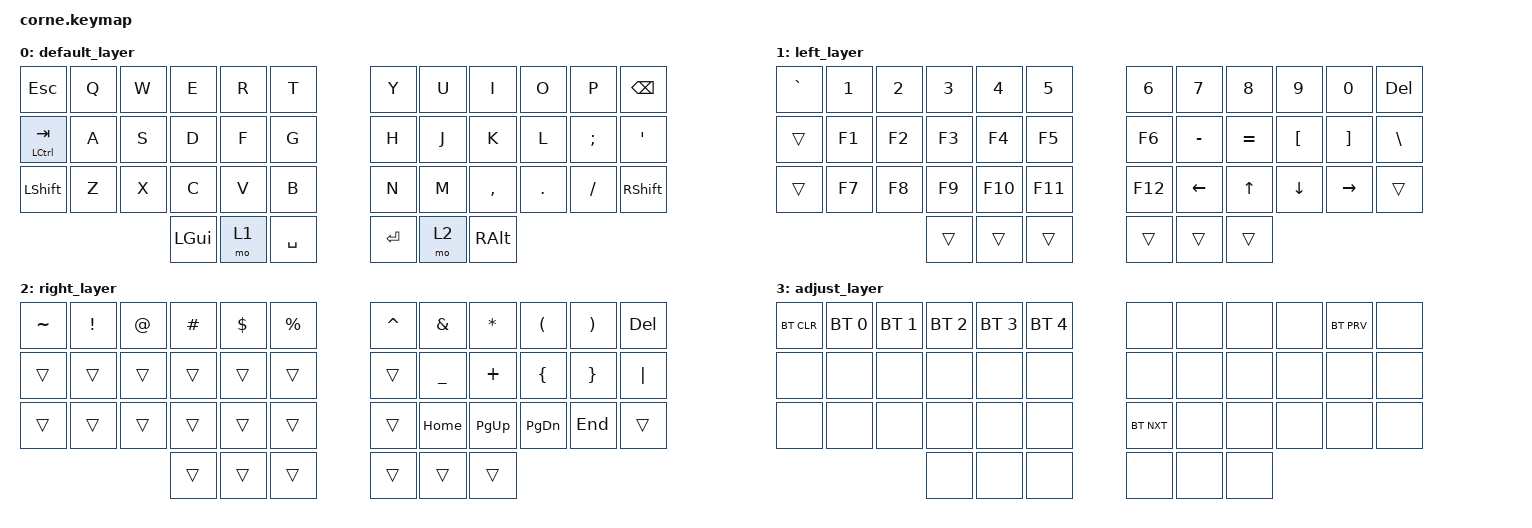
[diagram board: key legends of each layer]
#include <behaviors.dtsi>
#include <dt-bindings/zmk/keys.h>
#include <dt-bindings/zmk/bt.h>

/ {
    conditional_layers {
        compatible = "zmk,conditional-layers";
        tri_layer {
            if-layers = <1 2>;
            then-layer = <3>;
        };
    };

    keymap {
        compatible = "zmk,keymap";

        default_layer {
            bindings = <
&kp ESC          &kp Q    &kp W    &kp E    &kp R    &kp T          &kp Y    &kp U     &kp I        &kp O      &kp P       &kp BSPC
&mt LCTRL TAB    &kp A    &kp S    &kp D    &kp F    &kp G          &kp H    &kp J     &kp K        &kp L      &kp SEMI    &kp SQT
&kp LSHFT        &kp Z    &kp X    &kp C    &kp V    &kp B          &kp N    &kp M     &kp COMMA    &kp DOT    &kp FSLH    &kp RSHFT
                                   &kp LGUI &mo 1    &kp SPACE      &kp RET  &mo 2     &kp RALT
            >;
                };
        left_layer {
            bindings = <
&kp GRAVE     &kp N1          &kp N2          &kp N3          &kp N4        &kp N5            &kp N6      &kp N7      &kp N8       &kp N9       &kp N0       &kp DEL
&trans        &kp F1          &kp F2          &kp F3          &kp F4        &kp F5            &kp F6      &kp MINUS   &kp EQUAL    &kp LBKT     &kp RBKT     &kp BSLH
&trans        &kp F7          &kp F8          &kp F9          &kp F10       &kp F11           &kp F12     &kp LEFT    &kp UP       &kp DOWN     &kp RIGHT    &trans
                                              &trans          &trans        &trans            &trans      &trans      &trans
            >;
                };

        right_layer {
            bindings = <
&kp TILDE     &kp EXCL        &kp AT          &kp HASH        &kp DLLR      &kp PRCNT          &kp CARET   &kp AMPS    &kp ASTRK    &kp LPAR     &kp RPAR     &kp DEL
&trans        &trans          &trans          &trans          &trans        &trans             &trans      &kp UNDER   &kp PLUS     &kp LBRC     &kp RBRC     &kp PIPE
&trans        &trans          &trans          &trans          &trans        &trans             &trans      &kp HOME    &kp PG_UP    &kp PG_DN    &kp END      &trans
                                              &trans          &trans        &trans             &trans      &trans      &trans
            >;
                };

        adjust_layer {
            bindings = <
&bt BT_CLR    &bt BT_SEL 0    &bt BT_SEL 1    &bt BT_SEL 2    &bt BT_SEL 3  &bt BT_SEL 4          &none       &none       &none         &none       &bt BT_PRV   &none
&none         &none           &none           &none           &none         &none                 &none       &none       &none         &none       &none        &none
&none         &none           &none           &none           &none         &none                 &bt BT_NXT  &none       &none         &none       &none        &none
                                              &none           &none         &none                 &none       &none       &none
            >;
                };
        };
};
